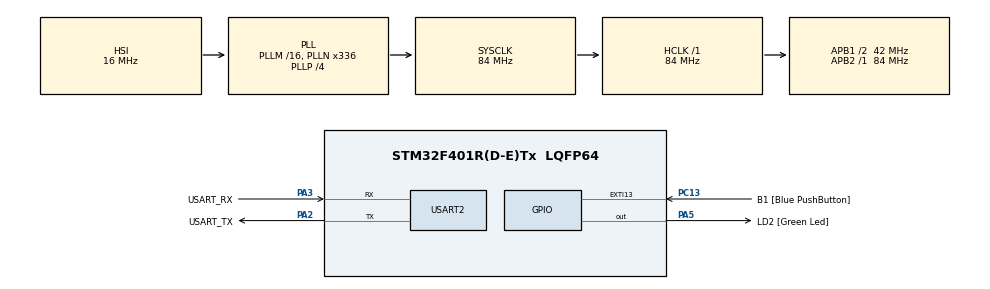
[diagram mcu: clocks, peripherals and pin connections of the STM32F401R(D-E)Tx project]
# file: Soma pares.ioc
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Mcu.Family=STM32F4
Mcu.Name=STM32F401R(D-E)Tx
Mcu.Package=LQFP64
NVIC.PriorityGroup=NVIC_PRIORITYGROUP_0
PA13.GPIO_Label=TMS
PA13.Mode=Serial_Wire
PA13.Signal=SYS_JTMS-SWDIO
PA14.GPIO_Label=TCK
PA14.Mode=Serial_Wire
PA14.Signal=SYS_JTCK-SWCLK
PA2.GPIO_Label=USART_TX
PA2.GPIO_Mode=GPIO_MODE_AF_PP
PA2.GPIO_PuPd=GPIO_NOPULL
PA2.GPIO_Speed=GPIO_SPEED_FREQ_LOW
PA2.Mode=Asynchronous
PA2.Signal=USART2_TX
PA3.GPIO_Label=USART_RX
PA3.GPIO_Mode=GPIO_MODE_AF_PP
PA3.GPIO_PuPd=GPIO_NOPULL
PA3.GPIO_Speed=GPIO_SPEED_FREQ_LOW
PA3.Mode=Asynchronous
PA3.Signal=USART2_RX
PA5.GPIO_Label=LD2 [Green Led]
PA5.GPIO_Mode=GPIO_MODE_OUTPUT_PP
PA5.GPIO_PuPd=GPIO_NOPULL
PA5.GPIO_Speed=GPIO_SPEED_FREQ_LOW
PA5.Signal=GPIO_Output
PB3.GPIO_Label=SWO
PB3.Signal=SYS_JTDO-SWO
PC13-ANTI_TAMP.GPIO_Label=B1 [Blue PushButton]
PC13-ANTI_TAMP.GPIO_ModeDefaultEXTI=GPIO_MODE_IT_FALLING
PC13-ANTI_TAMP.GPIO_PuPd=GPIO_NOPULL
PC13-ANTI_TAMP.Signal=GPXTI13
PC14-OSC32_IN.Mode=LSE-External-Oscillator
PC14-OSC32_IN.Signal=RCC_OSC32_IN
PC15-OSC32_OUT.Mode=LSE-External-Oscillator
PC15-OSC32_OUT.Signal=RCC_OSC32_OUT
PH0\ -\ OSC_IN.Mode=HSE-External-Clock-Source
PH0\ -\ OSC_IN.Signal=RCC_OSC_IN
PH1\ -\ OSC_OUT.Mode=HSE-External-Clock-Source
PH1\ -\ OSC_OUT.Signal=RCC_OSC_OUT
ProjectManager.HeapSize=0x200
ProjectManager.StackSize=0x400
ProjectManager.TargetToolchain=TrueSTUDIO
RCC.48MHZClocksFreq_Value=48000000
RCC.AHBFreq_Value=84000000
RCC.APB1CLKDivider=RCC_HCLK_DIV2
RCC.APB1Freq_Value=42000000
RCC.APB1TimFreq_Value=84000000
RCC.APB2Freq_Value=84000000
RCC.APB2TimFreq_Value=84000000
RCC.CortexFreq_Value=84000000
RCC.HCLKFreq_Value=84000000
RCC.HSE_VALUE=8000000
RCC.HSI_VALUE=16000000
RCC.PLLN=336
RCC.PLLP=RCC_PLLP_DIV4
RCC.PLLQ=7
RCC.SYSCLKFreq_VALUE=84000000
RCC.SYSCLKSource=RCC_SYSCLKSOURCE_PLLCLK
RCC.VCOOutputFreq_Value=336000000
USART2.VirtualMode=VM_ASYNC
board=NUCLEO-F401RE

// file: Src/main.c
/* USER CODE BEGIN Header */
/**
  ******************************************************************************
  * @file           : main.c
  * @brief          : Main program body
  ******************************************************************************
  ** This notice applies to any and all portions of this file
  * that are not between comment pairs USER CODE BEGIN and
  * USER CODE END. Other portions of this file, whether
  * inserted by the user or by software development tools
  * are owned by their respective copyright owners.
  *
  * COPYRIGHT(c) 2019 STMicroelectronics
  *
  * Redistribution and use in source and binary forms, with or without modification,
  * are permitted provided that the following conditions are met:
  *   1. Redistributions of source code must retain the above copyright notice,
  *      this list of conditions and the following disclaimer.
  *   2. Redistributions in binary form must reproduce the above copyright notice,
  *      this list of conditions and the following disclaimer in the documentation
  *      and/or other materials provided with the distribution.
  *   3. Neither the name of STMicroelectronics nor the names of its contributors
  *      may be used to endorse or promote products derived from this software
  *      without specific prior written permission.
  *
  * THIS SOFTWARE IS PROVIDED BY THE COPYRIGHT HOLDERS AND CONTRIBUTORS "AS IS"
  * AND ANY EXPRESS OR IMPLIED WARRANTIES, INCLUDING, BUT NOT LIMITED TO, THE
  * IMPLIED WARRANTIES OF MERCHANTABILITY AND FITNESS FOR A PARTICULAR PURPOSE ARE
  * DISCLAIMED. IN NO EVENT SHALL THE COPYRIGHT HOLDER OR CONTRIBUTORS BE LIABLE
  * FOR ANY DIRECT, INDIRECT, INCIDENTAL, SPECIAL, EXEMPLARY, OR CONSEQUENTIAL
  * DAMAGES (INCLUDING, BUT NOT LIMITED TO, PROCUREMENT OF SUBSTITUTE GOODS OR
  * SERVICES; LOSS OF USE, DATA, OR PROFITS; OR BUSINESS INTERRUPTION) HOWEVER
  * CAUSED AND ON ANY THEORY OF LIABILITY, WHETHER IN CONTRACT, STRICT LIABILITY,
  * OR TORT (INCLUDING NEGLIGENCE OR OTHERWISE) ARISING IN ANY WAY OUT OF THE USE
  * OF THIS SOFTWARE, EVEN IF ADVISED OF THE POSSIBILITY OF SUCH DAMAGE.
  *
  ******************************************************************************
  */
/* USER CODE END Header */

#include "main.h"

UART_HandleTypeDef huart2;

void SystemClock_Config(void);
static void MX_GPIO_Init(void);
static void MX_USART2_UART_Init(void);

int main(void)
{

  /* MCU Configuration--------------------------------------------------------*/

  /* Reset of all peripherals, Initializes the Flash interface and the Systick. */
  HAL_Init();

  /* Configure the system clock */
  SystemClock_Config();

  /* Initialize all configured peripherals */
  MX_GPIO_Init();
  MX_USART2_UART_Init();
  /* USER CODE BEGIN 2 */
  HAL_Delay(50);

   int soma_par = 0;
   int conta_impar = 0;
   int num1 = 1, num2 = 2, num3 = 3, num4 = 4, num5 = 5, num6 = 6;

   	  //verifica se é par ou impar somando os pares e contando os impares
   	  if (num1 % 2 == 0) {
   		  soma_par += num1;
   	      }
   	  	  else{
   	  		  conta_impar += 1;
   	  	  }
   	  if (num2 % 2 == 0) {
   		  soma_par += num2;
   	 	      }
   	 	  else{
   	  		  conta_impar += 1;
   	 	  }
   	  if (num3 % 2 == 0) {
   		  soma_par += num3;
   	 	      }
   	 	  else{
   			  conta_impar += 1;
   	 	  }
   	  if (num4 % 2 == 0) {
   		  soma_par += num4;
   	 	      }
   	 	  else{
   	  		  conta_impar += 1;
   	 	  }
   	  if (num5 % 2 == 0) {
   		  soma_par += num5;
   	 	      }
   	 	  else{
   	  		  conta_impar += 1;
   	 	  }
   	  if (num6 % 2 == 0) {
   		  soma_par += num6;
   	 	      }
   	 	  else{
   	  		  conta_impar += 1;
   	 	  }
   	  printf("A soma dos numeros pares é: %d\n", soma_par);
   	  printf("A quantidade de numeros impares é: %d\n", conta_impar);

  /* USER CODE END 2 */

  /* Infinite loop */
  while (1)
  {

  }
}

void SystemClock_Config(void)
{
  RCC_OscInitTypeDef RCC_OscInitStruct = {0};
  RCC_ClkInitTypeDef RCC_ClkInitStruct = {0};

  /**Configure the main internal regulator output voltage
  */
  __HAL_RCC_PWR_CLK_ENABLE();
  __HAL_PWR_VOLTAGESCALING_CONFIG(PWR_REGULATOR_VOLTAGE_SCALE2);
  /**Initializes the CPU, AHB and APB busses clocks
  */
  RCC_OscInitStruct.OscillatorType = RCC_OSCILLATORTYPE_HSI;
  RCC_OscInitStruct.HSIState = RCC_HSI_ON;
  RCC_OscInitStruct.HSICalibrationValue = RCC_HSICALIBRATION_DEFAULT;
  RCC_OscInitStruct.PLL.PLLState = RCC_PLL_ON;
  RCC_OscInitStruct.PLL.PLLSource = RCC_PLLSOURCE_HSI;
  RCC_OscInitStruct.PLL.PLLM = 16;
  RCC_OscInitStruct.PLL.PLLN = 336;
  RCC_OscInitStruct.PLL.PLLP = RCC_PLLP_DIV4;
  RCC_OscInitStruct.PLL.PLLQ = 7;
  if (HAL_RCC_OscConfig(&RCC_OscInitStruct) != HAL_OK)
  {
    Error_Handler();
  }
  /**Initializes the CPU, AHB and APB busses clocks
  */
  RCC_ClkInitStruct.ClockType = RCC_CLOCKTYPE_HCLK|RCC_CLOCKTYPE_SYSCLK
                              |RCC_CLOCKTYPE_PCLK1|RCC_CLOCKTYPE_PCLK2;
  RCC_ClkInitStruct.SYSCLKSource = RCC_SYSCLKSOURCE_PLLCLK;
  RCC_ClkInitStruct.AHBCLKDivider = RCC_SYSCLK_DIV1;
  RCC_ClkInitStruct.APB1CLKDivider = RCC_HCLK_DIV2;
  RCC_ClkInitStruct.APB2CLKDivider = RCC_HCLK_DIV1;

  if (HAL_RCC_ClockConfig(&RCC_ClkInitStruct, FLASH_LATENCY_2) != HAL_OK)
  {
    Error_Handler();
  }
}

static void MX_USART2_UART_Init(void)
{

  huart2.Instance = USART2;
  huart2.Init.BaudRate = 115200;
  huart2.Init.WordLength = UART_WORDLENGTH_8B;
  huart2.Init.StopBits = UART_STOPBITS_1;
  huart2.Init.Parity = UART_PARITY_NONE;
  huart2.Init.Mode = UART_MODE_TX_RX;
  huart2.Init.HwFlowCtl = UART_HWCONTROL_NONE;
  huart2.Init.OverSampling = UART_OVERSAMPLING_16;
  if (HAL_UART_Init(&huart2) != HAL_OK)
  {
    Error_Handler();
  }

}

static void MX_GPIO_Init(void)
{
  GPIO_InitTypeDef GPIO_InitStruct = {0};

  /* GPIO Ports Clock Enable */
  __HAL_RCC_GPIOC_CLK_ENABLE();
  __HAL_RCC_GPIOH_CLK_ENABLE();
  __HAL_RCC_GPIOA_CLK_ENABLE();
  __HAL_RCC_GPIOB_CLK_ENABLE();

  /*Configure GPIO pin Output Level */
  HAL_GPIO_WritePin(LD2_GPIO_Port, LD2_Pin, GPIO_PIN_RESET);

  /*Configure GPIO pin : B1_Pin */
  GPIO_InitStruct.Pin = B1_Pin;
  GPIO_InitStruct.Mode = GPIO_MODE_IT_FALLING;
  GPIO_InitStruct.Pull = GPIO_NOPULL;
  HAL_GPIO_Init(B1_GPIO_Port, &GPIO_InitStruct);

  /*Configure GPIO pin : LD2_Pin */
  GPIO_InitStruct.Pin = LD2_Pin;
  GPIO_InitStruct.Mode = GPIO_MODE_OUTPUT_PP;
  GPIO_InitStruct.Pull = GPIO_NOPULL;
  GPIO_InitStruct.Speed = GPIO_SPEED_FREQ_LOW;
  HAL_GPIO_Init(LD2_GPIO_Port, &GPIO_InitStruct);

}

void Error_Handler(void)
{
}

/************************ (C) COPYRIGHT STMicroelectronics *****END OF FILE****/
